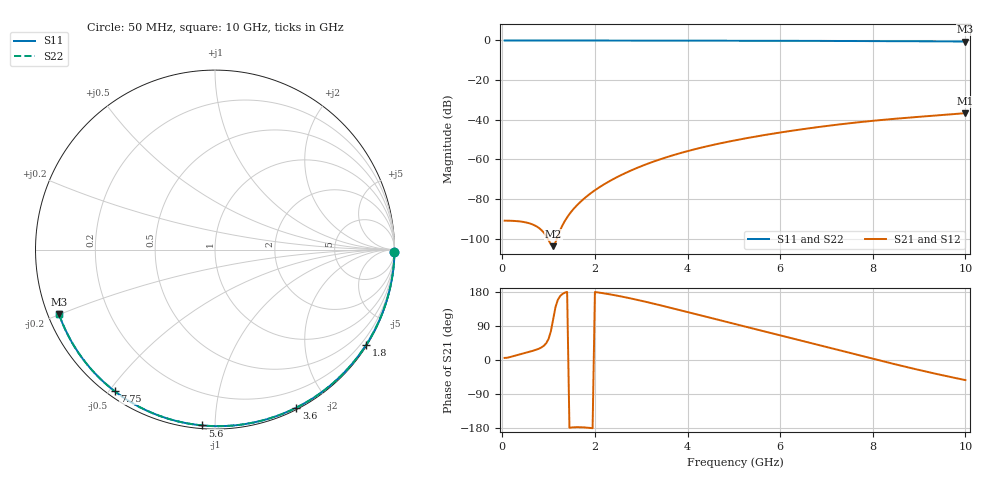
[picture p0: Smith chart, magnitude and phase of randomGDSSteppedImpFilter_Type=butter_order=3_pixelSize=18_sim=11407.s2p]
! freq	dB(S11)	phase(S11)	dB(S12)	phase(S12)
!  dB(S21)	phase(S21)	dB(S22)	phase(S22)
!S-par simulation data
#  GHz  S  DB  R 50
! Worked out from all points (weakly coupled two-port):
!   200 points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, 50 MHz to 10 GHz, reference 50 ohm
!   highest |S21| = -36.68 dB at 10 GHz (marker M1); lowest = -103.7 dB at 1.1 GHz (marker M2)
!   lowest |S11| = -0.5 dB at 10 GHz (marker M3), VSWR 32.79, Z = 1.59 - j9.92 ohm
!   |S11| at or under -10 dB: nowhere
!   |S22| runs from -0.5 to 0.0 dB; largest |S21 - S12| = 0
!   S11 on the Smith chart (normalised r, x): 50 MHz: open; 1.8 GHz: 0.03, -3.46; 3.6 GHz: 0.02, -1.64; 5.6 GHz: 0.02, -0.93; 7.75 GHz: 0.02, -0.52; 10 GHz: 0.03, -0.20
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0.05  -0.00 -0.9  -90.89 5.5  -90.89 5.5  -0.00 -0.9
0.55  -0.01 -10.0  -91.99 20.6  -91.99 20.6  -0.01 -10.0
1.1  -0.02 -19.9  -103.75 108.4  -103.75 108.4  -0.02 -19.9
1.75  -0.04 -31.3  -80.07 -177.7  -80.07 -177.7  -0.04 -31.3
1.8  -0.04 -32.2  -79.08 -178.1  -79.08 -178.1  -0.04 -32.2
1.95  -0.04 -34.8  -76.37 -179.9  -76.37 -179.9  -0.04 -34.8
2.1  -0.05 -37.4  -73.98 177.7  -73.98 177.7  -0.05 -37.4
2.3  -0.05 -40.9  -71.16 173.8  -71.16 173.8  -0.05 -40.9
2.5  -0.06 -44.3  -68.66 169.3  -68.66 169.3  -0.06 -44.3
2.9  -0.07 -51.1  -64.37 159.1  -64.37 159.1  -0.07 -51.1
3.4  -0.08 -59.4  -60.01 144.8  -60.01 144.8  -0.08 -59.4
3.6  -0.08 -62.7  -58.50 138.8  -58.50 138.8  -0.08 -62.7
4.3  -0.11 -74.0  -54.03 117.2  -54.03 117.2  -0.11 -74.0
5.05  -0.13 -85.7  -50.26 94.1  -50.26 94.1  -0.13 -85.7
5.6  -0.16 -94.1  -47.94 77.3  -47.94 77.3  -0.16 -94.1
6.15  -0.18 -102.3  -45.89 60.5  -45.89 60.5  -0.18 -102.3
6.7  -0.22 -110.3  -44.05 43.7  -44.05 43.7  -0.22 -110.3
7.2  -0.25 -117.5  -42.56 28.2  -42.56 28.2  -0.25 -117.5
7.75  -0.29 -125.4  -41.12 11.1  -41.12 11.1  -0.29 -125.4
8.35  -0.35 -133.9  -39.76 -7.3  -39.76 -7.3  -0.35 -133.9
9.2  -0.44 -146.0  -38.14 -32.0  -38.14 -32.0  -0.44 -146.0
10  -0.53 -157.5  -36.68 -53.0  -36.68 -53.0  -0.53 -157.5
